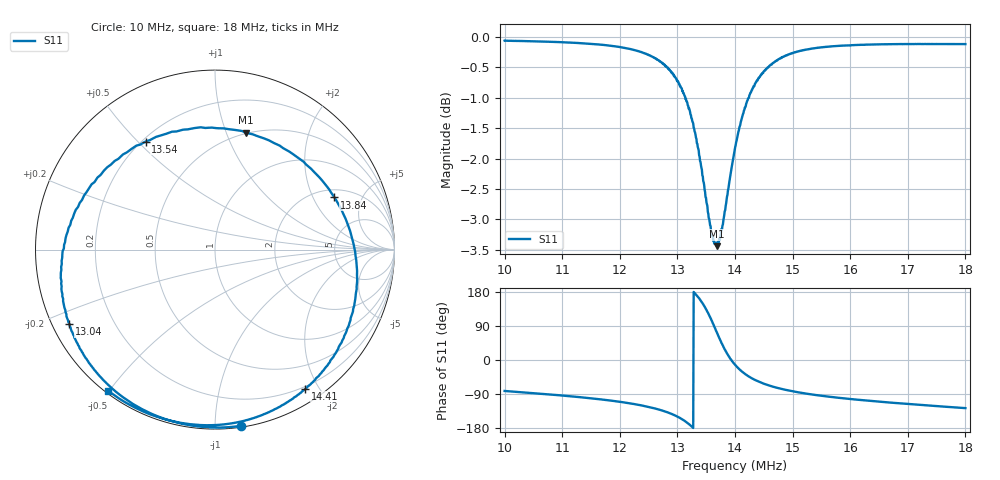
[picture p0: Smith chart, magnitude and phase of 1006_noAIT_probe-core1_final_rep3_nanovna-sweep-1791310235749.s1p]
! NanoVNA Web complex sweep
! Processing: unaveraged complex samples; linear segment spacing; no smoothing
# Hz S RI R 50
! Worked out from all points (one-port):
!   1010 points, 10 MHz to 18 MHz, reference 50 ohm
!   lowest |S11| = -3.4 dB at 13.68 MHz (marker M1), VSWR 5.12, Z = 24.7 + j58.7 ohm
!   |S11| at or under -10 dB: nowhere
!   S11 on the Smith chart (normalised r, x): 10 MHz: 0.01, -1.16; 13.04 MHz: 0.05, -0.24; 13.54 MHz: 0.21, +0.53; 13.84 MHz: 2.41, +2.96; 14.41 MHz: 0.17, -1.83; 18 MHz: 0.01, -0.50
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1e7  0.1438 -0.9827
1.100698e7  -0.0661 -0.9879
1.200604e7  -0.3428 -0.9192
1.233906e7  -0.4676 -0.8535
1.260071e7  -0.5852 -0.763
1.282272e7  -0.6991 -0.6346
1.300509e7  -0.7934 -0.4635
1.304474e7  -0.8114 -0.4142
1.321124e7  -0.8593 -0.1433
1.333018e7  -0.8156 0.1221
1.343326e7  -0.6712 0.3763
1.353633e7  -0.3872 0.602
1.36077e7  -0.1114 0.6776
1.367906e7  0.1718 0.6507
1.376628e7  0.4946 0.4888
1.383764e7  0.6653 0.2906
1.391693e7  0.7675 0.0488
1.400414e7  0.7916 -0.1817
1.409136e7  0.7556 -0.3821
1.418651e7  0.6889 -0.5434
1.428959e7  0.6059 -0.6711
1.440852e7  0.5041 -0.7748
1.466225e7  0.3168 -0.8981
1.50032e7  0.1241 -0.9621
1.544722e7  -0.0568 -0.9783
1.600225e7  -0.22 -0.9592
1.700131e7  -0.4338 -0.8863
1.800036e7  -0.5935 -0.7883
